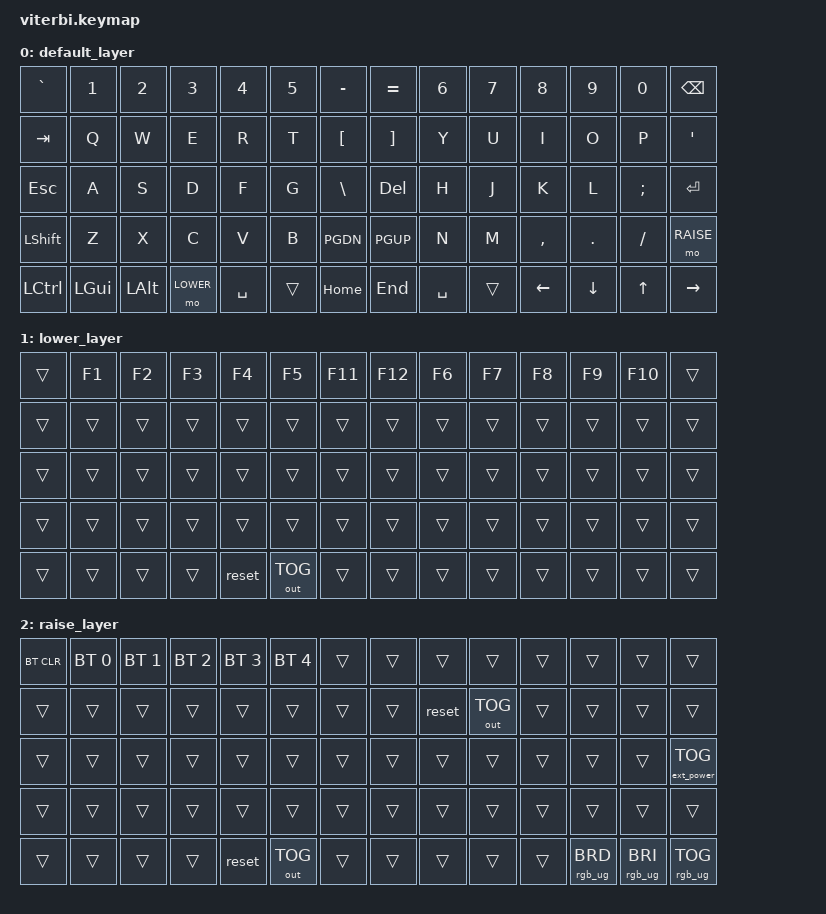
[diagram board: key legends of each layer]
/*
 * Copyright (c) 2021 The ZMK Contributors
 *
 * SPDX-License-Identifier: MIT
 */

 #include <behaviors.dtsi>
 #include <dt-bindings/zmk/keys.h>
 #include <dt-bindings/zmk/bt.h>
 #include <dt-bindings/zmk/rgb.h>
 #include <dt-bindings/zmk/ext_power.h>
 #include <dt-bindings/zmk/outputs.h>

#define DEFAULT 0
#define LOWER	1
#define RAISE	2
/ {
       keymap {
              compatible = "zmk,keymap";
 
              default_layer {
 // -------------------------------------------------------------------   ------------------------------------------------------------------
 // | GRAVE    | 1      | 2      | 3       |   4    |   5    | -      |   | =       |   6     |   7    |   8     |   9    |   0    |  BSPC  |
 // | TAB      | Q      | W      | E       |   R    |   T    | [      |   |         |   Y     |   U    |   I     |   O    |   P    |  '     |
 // | ESC      | A      | S      | D       |   F    |   G    | \      |   |         |   H     |   J    |   K     |   L    |   ;    |  RET   |
 // | SHIFT    | Z      | X      | C       |   V    |   B    | PGDN   |   | PGUP    |   N     |   M    |   ,     |   .    |   /    | RAISE  |
 // | LCTRL    | LGUI   | LALT   | LOWER   | SPACE  -        | HOME   |   | END     | SPACE   -        |  LEFT   |  DOWN  |  UP    |  RIGHT |
 // -------------------------------------------------------------------   ------------------------------------------------------------------
                     bindings = <
     &kp GRAVE  &kp N1   &kp N2   &kp N3    &kp N4    &kp N5  &kp MINUS    &kp EQUAL &kp N6    &kp N7   &kp N8    &kp N9   &kp N0   &kp BSPC
     &kp TAB    &kp Q    &kp W    &kp E     &kp R     &kp T   &kp LBKT     &kp RBKT  &kp Y     &kp U    &kp I     &kp O    &kp P    &kp SQT
     &kp ESC    &kp A    &kp S    &kp D     &kp F     &kp G   &kp BSLH     &kp DEL   &kp H     &kp J    &kp K     &kp L    &kp SEMI &kp RET
     &kp LSHFT  &kp Z    &kp X    &kp C     &kp V     &kp B   &kp PGDN     &kp PGUP  &kp N     &kp M    &kp COMMA &kp DOT  &kp FSLH &mo RAISE
     &kp LCTRL  &kp LGUI &kp LALT &mo LOWER &kp SPACE &trans  &kp HOME     &kp END   &kp SPACE &trans   &kp LEFT  &kp DOWN &kp UP   &kp RIGHT
                     >;
              };
              lower_layer {
 // -------------------------------------------------------------------   -----------------------------------------------------------------------
 // |          | F1     | F2     | F3      | F4     | F5     | F11    |   | F12    | F6      | F7     | F8      | F9       | F10      |         |
 // |          |        |        |         |        |        |        |   |        |         |        |         |          |          |         |
 // |          |        |        |         |        |        |        |   |        |         |        |         |          |          |         |
 // |          |        |        |         |        |        |        |   |        |         |        |         |          |          |         |
 // |          |        |        |         | RESET  | OUT_TOG|        |   |        |         |        |         |          |          |         |
 // -------------------------------------------------------------------   -----------------------------------------------------------------------
                     bindings = <
     &trans     &kp F1   &kp F2   &kp F3    &kp F4   &kp F5   &kp F11      &kp F12  &kp F6    &kp F7   &kp F8    &kp F9     &kp F10    &trans
     &trans     &trans   &trans   &trans    &trans   &trans   &trans       &trans   &trans    &trans   &trans    &trans     &trans     &trans
     &trans     &trans   &trans   &trans    &trans   &trans   &trans       &trans   &trans    &trans   &trans    &trans     &trans     &trans
     &trans     &trans   &trans   &trans    &trans   &trans   &trans       &trans   &trans    &trans   &trans    &trans     &trans     &trans
     &trans     &trans   &trans   &trans    &reset   &out OUT_TOG &trans   &trans   &trans    &trans   &trans    &trans     &trans     &trans
                     >;
              };
              raise_layer {
 // ------------------------------------------------------------------------------------------   -------------------------------------------------------------------------------------
 // | BT CLR   | BTSEL0      | BTSEL1      | BTSEL2      | BTSEL3      | BTSEL4     |        |   |        |         |            |         |               |               |         |
 // |          |             |             |             |             |            |        |   |        | RESET   | OUT_TOG    |         |               |               |         |
 // |          |             |             |             |             |            |        |   |        |         |            |         |               |               | EP TOG  |
 // |          |             |             |             |             |            |        |   |        |         |            |         |               |               |         |
 // |          |             |             |             | RESET       | OUT_TOG    |        |   |        |         |            |         | RGB BRI-      | RGB BRI+      | RGB TOG |
 // ------------------------------------------------------------------------------------------   -------------------------------------------------------------------------------------
                     bindings = <
     &bt BT_CLR &bt BT_SEL 0  &bt BT_SEL 1  &bt BT_SEL 2  &bt BT_SEL 3  &bt BT_SEL 4 &trans       &trans   &trans    &trans       &trans    &trans          &trans          &trans
     &trans     &trans        &trans        &trans        &trans        &trans       &trans       &trans   &reset    &out OUT_TOG &trans    &trans          &trans          &trans
     &trans     &trans        &trans        &trans        &trans        &trans       &trans       &trans   &trans    &trans       &trans    &trans          &trans          &ext_power EP_TOG
     &trans     &trans        &trans        &trans        &trans        &trans       &trans       &trans   &trans    &trans       &trans    &trans          &trans          &trans
     &trans     &trans        &trans        &trans        &reset        &out OUT_TOG &trans       &trans   &trans    &trans       &trans    &rgb_ug RGB_BRD &rgb_ug RGB_BRI &rgb_ug RGB_TOG
                     >;
              };
       };
};
